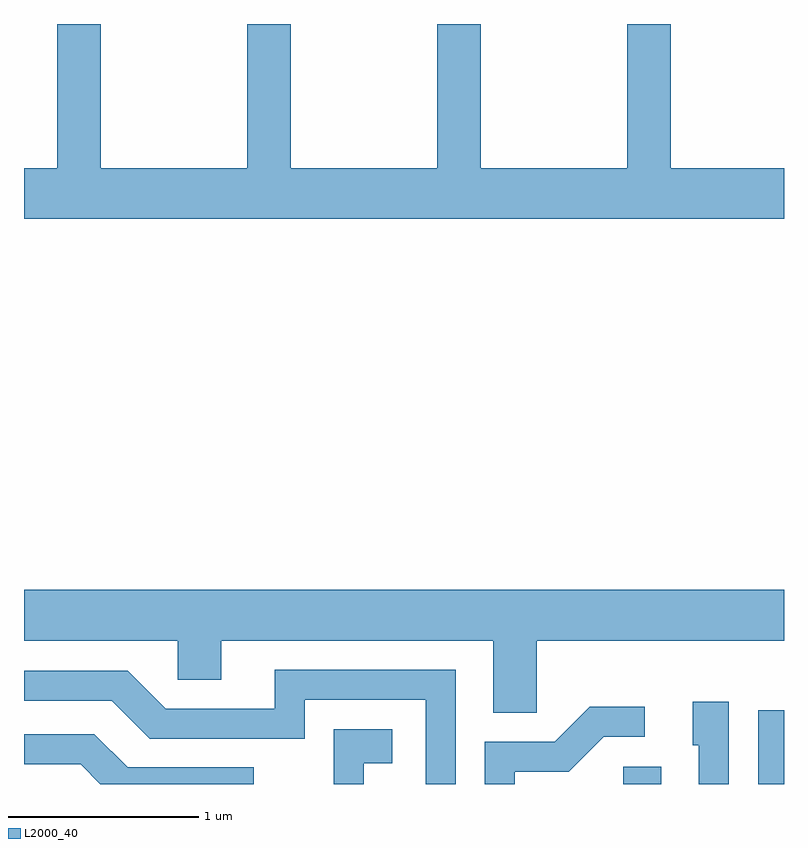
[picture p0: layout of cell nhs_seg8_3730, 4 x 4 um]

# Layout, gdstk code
import gdstk
lib = gdstk.Library(unit=1e-6, precision=1e-09)
def R(c, l, rs):  # rectangles x0, y0, x1, y1
    for r in rs: c.add(gdstk.rectangle(r[:2], r[2:], *l))
def P(c, l, *ps):  # polygons
    for p in ps: c.add(gdstk.Polygon(p, *l))
L2000_40 = (2000, 40)

nhs_seg8_3730 = lib.new_cell('nhs_seg8_3730')
R(nhs_seg8_3730, L2000_40, [(300.766,1822.342,300.964,1822.434), (301.476,1822.342,301.611,1822.729)])
P(nhs_seg8_3730, L2000_40, [(301.611,1825.584),(301.014,1825.584),(301.014,1826.342),(300.786,1826.342),(300.786,1825.584),(300.014,1825.584),(300.014,1826.342),(299.786,1826.342),(299.786,1825.584),(299.014,1825.584),(299.014,1826.342),(298.786,1826.342),(298.786,1825.584),(298.014,1825.584),(298.014,1826.342),(297.786,1826.342),(297.786,1825.584),(297.611,1825.584),(297.611,1825.316),(301.611,1825.316)],
  [(300.309,1823.096),(301.611,1823.096),(301.611,1823.364),(297.611,1823.364),(297.611,1823.096),(298.421,1823.096),(298.421,1822.891),(298.649,1822.891),(298.649,1823.096),(300.081,1823.096),(300.081,1822.716),(300.309,1822.716)],
  [(299.884,1822.944),(298.931,1822.944),(298.931,1822.739),(298.357,1822.739),(298.157,1822.939),(297.611,1822.939),(297.611,1822.781),(298.074,1822.781),(298.274,1822.581),(299.089,1822.581),(299.089,1822.786),(299.726,1822.786),(299.726,1822.342),(299.884,1822.342)],
  [(301.319,1822.774),(301.131,1822.774),(301.131,1822.546),(301.161,1822.546),(301.161,1822.342),(301.319,1822.342)],
  [(300.194,1822.406),(300.477,1822.406),(300.662,1822.591),(300.878,1822.591),(300.878,1822.749),(300.589,1822.749),(300.404,1822.564),(300.036,1822.564),(300.036,1822.342),(300.194,1822.342)],
  [(299.399,1822.451),(299.549,1822.451),(299.549,1822.629),(299.241,1822.629),(299.241,1822.342),(299.399,1822.342)],
  [(298.819,1822.429),(298.157,1822.429),(297.982,1822.604),(297.611,1822.604),(297.611,1822.446),(297.909,1822.446),(298.013,1822.342),(298.819,1822.342)])

lib.write_gds('nhs_seg8_3730.gds')
